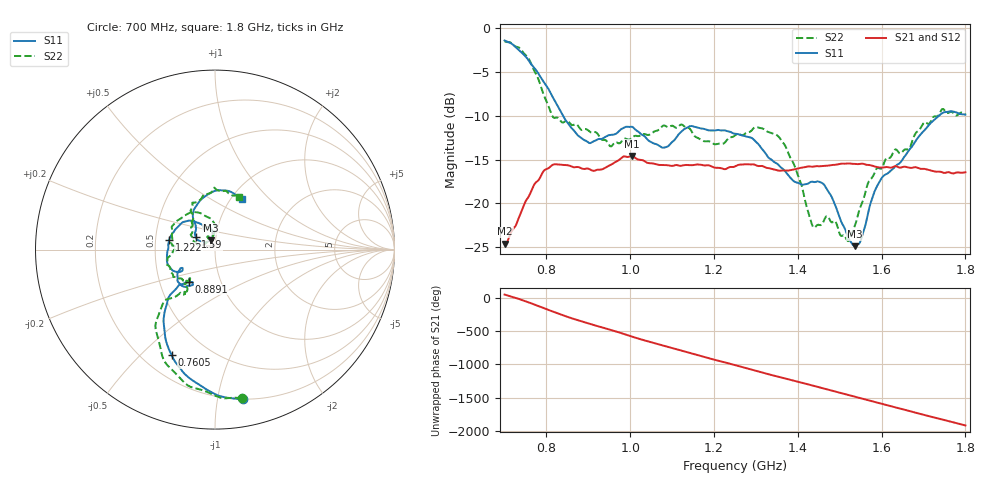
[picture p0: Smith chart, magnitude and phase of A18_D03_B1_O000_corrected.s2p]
! Created with skrf 1.9.0 (http://scikit-rf.org).
# Hz S RI R 50.0
!freq ReS11 ImS11 ReS21 ImS21 ReS12 ImS12 ReS22 ImS22
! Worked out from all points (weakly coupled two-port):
!   1601 points, 700 MHz to 1.8 GHz, reference 50 ohm
!   highest |S21| = -14.60 dB at 1.005 GHz (marker M1); lowest = -24.6 dB at 701.4 MHz (marker M2)
!   lowest |S11| = -24.9 dB at 1.535 GHz (marker M3), VSWR 1.12, Z = 47.3 + j4.88 ohm
!   |S11| at or under -10 dB: 839.2 MHz to 1.736 GHz (897.2 MHz wide, 69.7 % of centre)
!   |S22| runs from -24.3 to -1.5 dB; largest |S21 - S12| = 0.0035
!   S11 on the Smith chart (normalised r, x): 700 MHz: 0.20, -1.19; 760.5 MHz: 0.32, -0.62; 889.1 MHz: 0.70, -0.27; 1.222 GHz: 0.59, +0.07; 1.59 GHz: 0.80, +0.11; 1.8 GHz: 1.12, +0.71
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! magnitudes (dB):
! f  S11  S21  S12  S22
! 700 MHz  -1.4  -24.6  -24.4  -1.5
! 701.4 MHz  -1.5  -24.6  -24.2  -1.5
! 760.5 MHz  -3.9  -18.9  -18.8  -3.8
! 814.8 MHz  -7.9  -15.6  -15.7  -10.1
! 883.6 MHz  -12.5  -16.0  -15.9  -11.6
! 889.1 MHz  -12.7  -16.1  -16.0  -11.6
! 953 MHz  -12.2  -15.6  -15.6  -13.5
! 1.005 GHz  -11.3  -14.6  -14.7  -12.5
! 1.067 GHz  -13.4  -15.6  -15.5  -11.6
! 1.143 GHz  -11.2  -15.6  -15.6  -11.5
! 1.222 GHz  -11.7  -16.1  -16.1  -13.2
! 1.25 GHz  -12.1  -15.8  -15.7  -12.2
! 1.356 GHz  -15.7  -16.3  -16.2  -12.5
! 1.394 GHz  -17.6  -16.1  -16.1  -16.0
! 1.434 GHz  -17.5  -15.8  -15.8  -22.4
! 1.465 GHz  -18.0  -15.7  -15.7  -21.7
! 1.519 GHz  -23.7  -15.4  -15.5  -24.2
! 1.535 GHz  -24.9  -15.5  -15.5  -22.7
! 1.59 GHz  -17.9  -15.9  -15.9  -15.9
! 1.617 GHz  -16.5  -15.9  -15.9  -14.8
! 1.74 GHz  -9.9  -16.4  -16.4  -9.6
! 1.8 GHz  -9.9  -16.4  -16.4  -9.8
